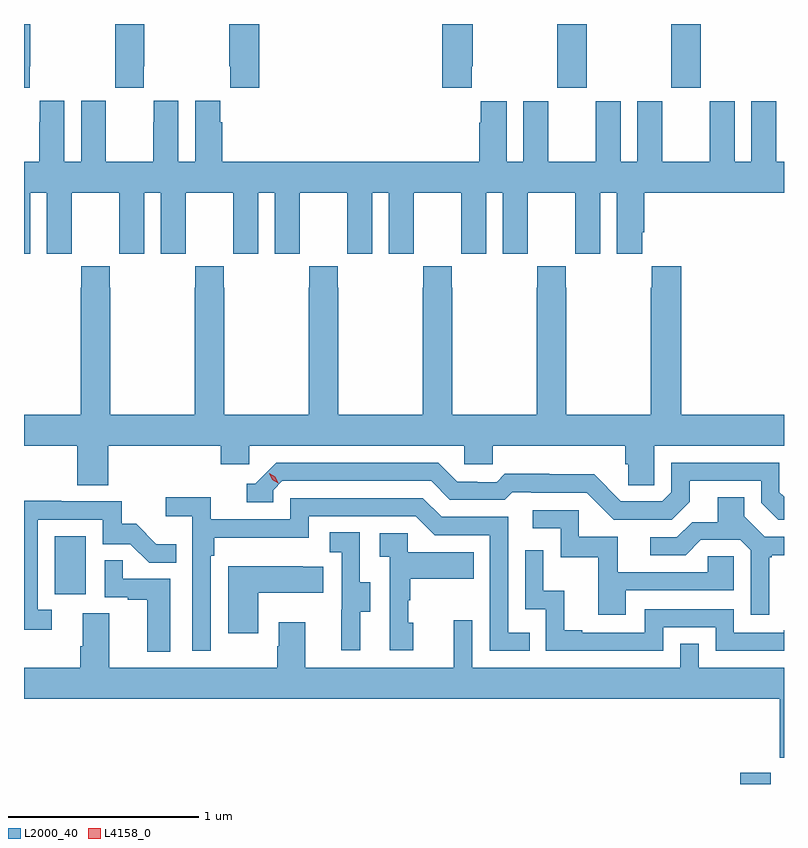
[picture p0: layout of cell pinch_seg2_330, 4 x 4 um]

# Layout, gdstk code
import gdstk
lib = gdstk.Library(unit=1e-6, precision=1e-09)
def R(c, l, rs):  # rectangles x0, y0, x1, y1
    for r in rs: c.add(gdstk.rectangle(r[:2], r[2:], *l))
def P(c, l, *ps):  # polygons
    for p in ps: c.add(gdstk.Polygon(p, *l))
L2000_40 = (2000, 40)
L4158_0 = (4158, 0)

pinch_seg2_330 = lib.new_cell('pinch_seg2_330')
R(pinch_seg2_330, L2000_40, [(977.675,629.872,977.835,629.932), (974.066,630.87,974.23,631.177), (976.711,633.537,976.866,633.872), (977.311,633.537,977.466,633.872)])
P(pinch_seg2_330, L2000_40, [(973.904,633.537),(973.935,633.537),(973.935,633.649),(973.938,633.649),(973.938,633.872),(973.904,633.872)],
  [(974.535,633.649),(974.538,633.649),(974.538,633.872),(974.383,633.872),(974.383,633.649),(974.385,633.649),(974.385,633.537),(974.535,633.537)],
  [(975.143,633.872),(974.983,633.872),(974.983,633.649),(974.989,633.649),(974.989,633.537),(975.143,633.537)],
  [(976.261,633.649),(976.266,633.649),(976.266,633.872),(976.106,633.872),(976.106,633.537),(976.261,633.537)],
  [(977.158,632.776),(977.168,632.776),(977.168,632.984),(977.904,632.984),(977.904,633.148),(977.863,633.148),(977.863,633.466),(977.732,633.466),(977.732,633.148),(977.644,633.148),(977.644,633.466),(977.513,633.466),(977.513,633.148),(977.263,633.148),(977.263,633.466),(977.132,633.466),(977.132,633.148),(977.044,633.148),(977.044,633.466),(976.913,633.466),(976.913,633.148),(976.663,633.148),(976.663,633.466),(976.532,633.466),(976.532,633.148),(976.444,633.148),(976.444,633.466),(976.307,633.466),(976.307,633.353),(976.301,633.353),(976.301,633.148),(974.948,633.148),(974.948,633.356),(974.938,633.356),(974.938,633.469),(974.804,633.469),(974.804,633.148),(974.716,633.148),(974.716,633.469),(974.586,633.469),(974.586,633.356),(974.585,633.356),(974.585,633.148),(974.335,633.148),(974.335,633.356),(974.334,633.356),(974.334,633.469),(974.204,633.469),(974.204,633.148),(974.116,633.148),(974.116,633.469),(973.986,633.469),(973.986,633.356),(973.985,633.356),(973.985,633.148),(973.904,633.148),(973.904,632.664),(973.936,632.664),(973.936,632.984),(974.024,632.984),(974.024,632.664),(974.154,632.664),(974.154,632.776),(974.155,632.776),(974.155,632.984),(974.405,632.984),(974.405,632.776),(974.406,632.776),(974.406,632.664),(974.536,632.664),(974.536,632.984),(974.624,632.984),(974.624,632.664),(974.754,632.664),(974.754,632.776),(974.755,632.776),(974.755,632.984),(975.005,632.984),(975.005,632.776),(975.006,632.776),(975.006,632.664),(975.136,632.664),(975.136,632.984),(975.224,632.984),(975.224,632.664),(975.354,632.664),(975.354,632.776),(975.355,632.776),(975.355,632.984),(975.605,632.984),(975.605,632.776),(975.606,632.776),(975.606,632.664),(975.736,632.664),(975.736,632.984),(975.824,632.984),(975.824,632.664),(975.954,632.664),(975.954,632.776),(975.955,632.776),(975.955,632.984),(976.205,632.984),(976.205,632.776),(976.206,632.776),(976.206,632.664),(976.336,632.664),(976.336,632.984),(976.424,632.984),(976.424,632.664),(976.554,632.664),(976.554,632.776),(976.555,632.776),(976.555,632.984),(976.805,632.984),(976.805,632.776),(976.806,632.776),(976.806,632.664),(976.936,632.664),(976.936,632.984),(977.024,632.984),(977.024,632.664),(977.158,632.664)],
  [(974.348,631.652),(974.939,631.652),(974.939,631.554),(975.09,631.554),(975.09,631.652),(976.221,631.652),(976.221,631.554),(976.371,631.554),(976.371,631.652),(977.069,631.652),(977.069,631.554),(977.083,631.554),(977.083,631.444),(977.22,631.444),(977.22,631.652),(977.904,631.652),(977.904,631.816),(977.363,631.816),(977.363,632.596),(977.209,632.596),(977.209,632.483),(977.203,632.483),(977.203,631.816),(976.758,631.816),(976.758,632.483),(976.755,632.483),(976.755,632.596),(976.605,632.596),(976.605,632.483),(976.603,632.483),(976.603,631.816),(976.158,631.816),(976.158,632.483),(976.155,632.483),(976.155,632.596),(976.005,632.596),(976.005,632.483),(976.003,632.483),(976.003,631.816),(975.558,631.816),(975.558,632.483),(975.555,632.483),(975.555,632.596),(975.405,632.596),(975.405,632.483),(975.403,632.483),(975.403,631.816),(974.958,631.816),(974.958,632.483),(974.955,632.483),(974.955,632.596),(974.805,632.596),(974.805,632.483),(974.803,632.483),(974.803,631.816),(974.358,631.816),(974.358,632.483),(974.355,632.483),(974.355,632.596),(974.205,632.596),(974.205,632.483),(974.203,632.483),(974.203,631.816),(973.904,631.816),(973.904,631.652),(974.183,631.652),(974.183,631.444),(974.348,631.444)],
  [(977.407,631.357),(977.407,631.467),(977.784,631.467),(977.784,631.353),(977.874,631.263),(977.904,631.263),(977.904,631.383),(977.88,631.407),(977.88,631.563),(977.31,631.563),(977.31,631.407),(977.262,631.359),(977.046,631.359),(976.904,631.501),(976.668,631.501),(976.668,631.504),(976.435,631.504),(976.393,631.461),(976.29,631.461),(976.29,631.464),(976.183,631.464),(976.084,631.563),(975.231,631.563),(975.12,631.452),(975.077,631.452),(975.077,631.356),(975.216,631.356),(975.216,631.419),(975.264,631.467),(976.047,631.467),(976.146,631.368),(976.435,631.368),(976.474,631.407),(976.573,631.407),(976.573,631.404),(976.866,631.404),(977.007,631.263),(977.313,631.263)],
  [(974.886,631.073),(974.906,631.073),(974.906,631.169),(975.402,631.169),(975.402,631.281),(975.966,631.281),(976.065,631.182),(976.356,631.182),(976.356,630.573),(976.565,630.573),(976.565,630.669),(976.452,630.669),(976.452,631.278),(976.102,631.278),(976.003,631.377),(975.306,631.377),(975.306,631.266),(974.888,631.266),(974.888,631.382),(974.649,631.382),(974.649,631.28),(974.79,631.28),(974.79,630.573),(974.886,630.573)],
  [(977.827,631.065),(977.839,631.065),(977.839,631.076),(977.904,631.076),(977.904,631.173),(977.802,631.173),(977.695,631.28),(977.695,631.382),(977.555,631.382),(977.555,631.25),(977.42,631.25),(977.34,631.17),(977.199,631.17),(977.199,631.077),(977.386,631.077),(977.467,631.158),(977.673,631.158),(977.73,631.101),(977.73,630.762),(977.827,630.762)],
  [(974.05,630.789),(973.977,630.789),(973.977,631.263),(974.319,631.263),(974.319,631.134),(974.464,631.134),(974.562,631.036),(974.705,631.036),(974.705,631.135),(974.601,631.135),(974.494,631.242),(974.418,631.242),(974.418,631.359),(974.099,631.359),(974.099,631.364),(973.904,631.364),(973.904,630.684),(974.05,630.684)],
  [(977.071,630.891),(977.64,630.891),(977.64,631.071),(977.503,631.071),(977.503,630.987),(977.029,630.987),(977.029,631.173),(976.824,631.173),(976.824,631.314),(976.581,631.314),(976.581,631.218),(976.728,631.218),(976.728,631.065),(976.927,631.065),(976.927,630.762),(977.071,630.762)],
  [(975.673,630.778),(975.727,630.778),(975.727,630.933),(975.672,630.933),(975.672,631.196),(975.513,631.196),(975.513,631.093),(975.576,631.093),(975.576,630.789),(975.575,630.789),(975.575,630.576),(975.673,630.576)],
  [(975.952,630.72),(975.927,630.72),(975.927,630.839),(975.937,630.839),(975.937,630.953),(976.271,630.953),(976.271,631.093),(975.924,631.093),(975.924,631.191),(975.777,631.191),(975.777,631.067),(975.828,631.067),(975.828,630.576),(975.952,630.576)],
  [(977.268,630.696),(977.544,630.696),(977.544,630.573),(977.904,630.573),(977.904,630.682),(977.903,630.682),(977.903,630.669),(977.64,630.669),(977.64,630.792),(977.172,630.792),(977.172,630.669),(976.843,630.669),(976.843,630.682),(976.748,630.682),(976.748,630.89),(976.638,630.89),(976.638,631.102),(976.542,631.102),(976.542,630.792),(976.65,630.792),(976.65,630.573),(977.268,630.573)],
  [(974.674,630.951),(974.423,630.951),(974.423,631.049),(974.328,631.049),(974.328,630.855),(974.449,630.855),(974.449,630.843),(974.552,630.843),(974.552,630.569),(974.674,630.569)],
  [(975.136,630.878),(975.479,630.878),(975.479,631.015),(975.371,631.015),(975.371,631.018),(974.978,631.018),(974.978,630.666),(975.136,630.666)],
  [(977.904,630.484),(977.454,630.484),(977.454,630.611),(977.358,630.611),(977.358,630.484),(976.263,630.484),(976.263,630.733),(976.166,630.733),(976.166,630.484),(975.385,630.484),(975.385,630.724),(975.245,630.724),(975.245,630.596),(975.238,630.596),(975.238,630.484),(974.353,630.484),(974.353,630.77),(974.213,630.77),(974.213,630.596),(974.201,630.596),(974.201,630.484),(973.904,630.484),(973.904,630.32),(977.882,630.32),(977.882,630.011),(977.904,630.011)])
P(pinch_seg2_330, L4158_0, [(975.242,631.455),(975.211,631.474),(975.195,631.507),(975.195,631.507),(975.195,631.507),(975.226,631.488),(975.242,631.455),(975.242,631.455)])

lib.write_gds('pinch_seg2_330.gds')
